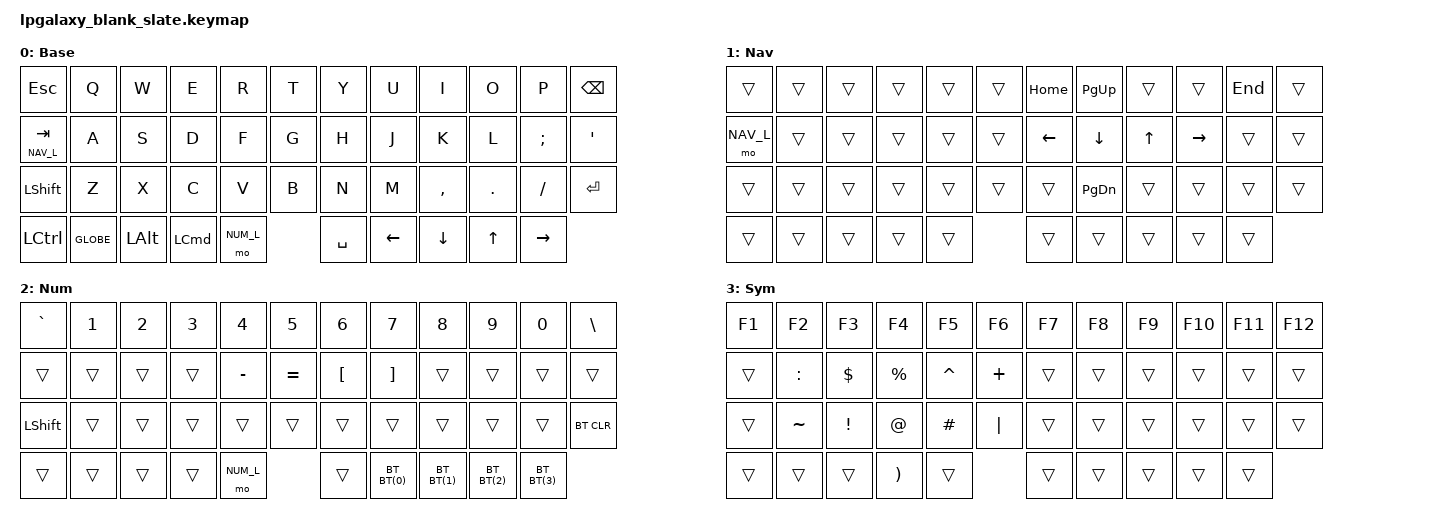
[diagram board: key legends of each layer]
/*
 * Copyright (c) 2022 Pete Johanson
 *
 * SPDX-License-Identifier: MIT
 */

#include <behaviors.dtsi>
#include <dt-bindings/zmk/keys.h>
#include <dt-bindings/zmk/bt.h>
#include <dt-bindings/zmk/outputs.h>

#define QWERTY_BASE 1

// #define TBLE_ORTHO   1
// #define TBLE_MIT     1
#define TBLE_DUAL_2U 1

#define NAV_L 1
#define NUM_L 2
#define SYM_L 3

// Using layer taps on thumbs, having quick tap as well helps w/ repeating space/backspace
&lt { quick_tap_ms = <200>; };

#define BT(n) BT_SEL n

/ {
    chosen {
       zmk,physical-layout =
#ifdef TBLE_DUAL_2U
                       &layout_ortho_4x12_2x2u;
#elif defined(TBLE_MIT)
                       &layout_ortho_4x12_1x2u;
#else
                       &layout_ortho_4x12_all1u;
#endif
    };

    macros {
      ZMK_MACRO(thumbs_up,
		wait-ms = <1>;
		tap-ms = <5>;
                bindings = <&kp PLUS &kp COLON &kp PLUS &kp N1 &kp COLON &kp RET>;
		)
    };
    
    tap_dances {
    	shifty: shift_caps_word {
		compatible = "zmk,behavior-tap-dance";
		label = "TD_SHIFTY";
		#binding-cells = <0>;
		tapping-term-ms = <150>;
		bindings = <&kp LSHFT>, <&caps_word>;
	};
    };

// Conditional layer only when we have less thumb keys
#ifdef TBLE_DUAL_2U
    cond_layers {
        compatible = "zmk,conditional-layers";
	tri {
	    if-layers = <NUM_L NAV_L>;
	    then-layer = <SYM_L>;
        };
    };
#endif

    keymap {
        compatible = "zmk,keymap";

        base_layer {
            label = "Base";
            bindings = <
#ifdef QWERTY_BASE
 &kp ESC    &kp Q      &kp W      &kp E       &kp R          &kp T          &kp Y            &kp U          &kp I       &kp O      &kp P         &kp BKSP
 &lt NAV_L TAB    &kp A      &kp S      &kp D       &kp F          &kp G          &kp H            &kp J          &kp K       &kp L      &kp SEMI      &kp QUOT
 &kp LSHFT  &kp Z      &kp X      &kp C       &kp V          &kp B          &kp N            &kp M          &kp COMMA   &kp DOT    &kp FSLH      &kp RET
#else
 &kp ESC    &kp Q      &kp W      &kp F       &kp P          &kp B          &kp J            &kp L          &kp U       &kp Y      &kp QUOT      &kp BKSP
 &kp TAB    &kp A      &kp R      &kp S       &kp T          &kp G          &kp M            &kp N          &kp E       &kp I      &kp O         &kp QUOT
 &kp LSHFT  &kp Z      &kp X      &kp C       &kp D          &kp V          &kp K            &kp H          &kp COMMA   &kp DOT    &kp SEMI      &kp RET
#endif
#ifdef TBLE_DUAL_2U
 &kp LCTRL  &kp GLOBE   &kp LALT   &kp LCMD         &mo NUM_L                        &kp SPACE                &kp LEFT   &kp DOWN   &kp UP      &kp RIGHT
#elif defined(TBLE_MIT)
 &kp LCTRL  &mo SYM_L   &kp LGUI  &kp LALT    &mo NAV_L          &kp SPACE                   &mo NUM_L      &kp LEFT    &kp UP     &kp DOWN      &kp RIGHT
#else
 &kp LCTRL  &mo SYM_L   &kp LGUI  &kp LALT    &mo NAV_L      &kp SPACE      &kp RET          &mo NUM_L      &kp LEFT    &kp UP     &kp DOWN      &kp RIGHT
#endif
            >;
        };

        nav_layer {
            label = "Nav";
            bindings = <
&trans        &trans     &trans     &trans      &trans          &trans       &kp HOME     &kp PG_UP         &trans      &trans     &kp END     &trans
&mo NAV_L     &trans     &trans     &trans      &trans          &trans       &kp LEFT     &kp DOWN    &kp UP     &kp RIGHT &trans &trans
&trans        &trans     &trans     &trans      &trans          &trans       &trans       &kp PG_DN       &trans  &trans  &trans    &trans
#ifdef TBLE_DUAL_2U
&trans  &trans        &trans     &trans              &trans                    &trans       &trans         &trans &trans &trans
#elif defined(TBLE_MIT)
&trans  &trans        &trans     &trans      &trans                &trans             &trans      &trans   &trans &trans &trans
#else
&trans  &trans        &trans     &trans      &trans          &trans       &trans    &trans  &trans         &trans &trans &trans
#endif
            >;
        };

        num_layer {
            label = "Num";
            bindings = <
&kp GRAVE     &kp N1   &kp N2 &kp N3 &kp N4    &kp N5    &kp N6    &kp N7     &kp N8      &kp N9       &kp N0     &kp BACKSLASH
&trans     &trans  &trans &trans &kp MINUS    &kp EQUAL   &kp LBKT    &kp RBKT     &trans      &trans       &trans     &trans
&kp LSHFT     &trans  &trans &trans &trans    &trans    &trans        &trans     &trans      &trans       &trans     &bt BT_CLR
#ifdef TBLE_DUAL_2U
&trans  &trans       &trans     &trans              &mo NUM_L                 &trans            &bt BT(0)         &bt BT(1) &bt BT(2) &bt BT(3)
#elif defined(TBLE_MIT)
&trans  &trans       &trans     &kp N0      &trans           &none            &trans        &kp DEL      &trans &trans &trans
#else
&trans  &trans       &trans     &kp N0      &trans    &none         &none     &kp ESC        &kp DEL      &trans &trans &trans
#endif
            >;
        };

        sym_layer {
            label = "Sym";
            bindings = <
&kp F1     &kp F2     &kp F3     &kp F4      &kp F5       &kp F6       &kp F7     &kp F8    &kp F9       &kp F10      &kp F11    &kp F12
&trans     &kp COLON  &kp DLLR   &kp PRCNT   &kp CARET    &kp PLUS     &trans     &trans    &trans       &trans       &trans     &trans
&trans     &kp TILDE  &kp EXCL   &kp AT      &kp HASH     &kp PIPE     &trans     &trans    &trans       &trans       &trans     &trans
#ifdef TBLE_DUAL_2U
&trans &trans        &trans     &kp RPAR                &trans                    &trans       &trans         &trans &trans &trans
#elif defined(TBLE_MIT)
&trans &trans        &trans     &kp RPAR        &trans                &trans             &trans      &trans   &trans &trans &trans
#else
&trans &trans        &trans     &kp RPAR        &trans          &trans       &trans    &trans  &trans         &trans &trans &trans
#endif
            >;
        };


    };
};

